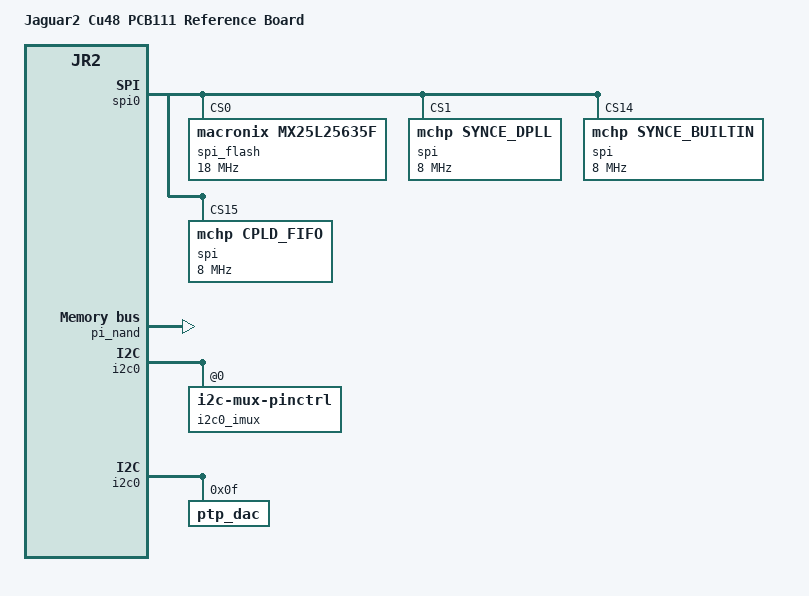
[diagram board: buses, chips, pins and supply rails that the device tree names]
// SPDX-License-Identifier: (GPL-2.0+ OR MIT)
/*
 * Copyright (c) 2018 Microsemi Corporation
 */

/dts-v1/;
#include "jaguar2_common.dtsi"

/ {
	model = "Jaguar2 Cu48 PCB111 Reference Board";
	compatible = "mscc,jr2-pcb111", "mscc,jr2";

	aliases {
		i2c0    = &i2c0;
		i2c149  = &i2c149;
		i2c150  = &i2c150;
		i2c151  = &i2c151;
		i2c152  = &i2c152;
		i2c203  = &i2c203;
		ptp_dac = &ptp_dac;
	};
};

&spi0 {
	status = "okay";
	spi-flash@0 {
		label = "spi_flash";
		compatible = "macronix,mx25l25635f", "jedec,spi-nor";
		spi-max-frequency = <18000000>; /* input clock */
		reg = <0>; /* CS0 */
	};
	// synce module
	spi@1 {
		compatible = "mchp,synce_dpll";
		reg = <0x1>; /* CS1 */
		pinctrl-0 = <&synce_pins>;
		pinctrl-names = "default";
		spi-max-frequency = <8000000>;
	};
	// CPLD register interface
	spi@e {
		compatible = "mchp,synce_builtin";
		reg = <0xe>; /* CS14 */
		pinctrl-0 = <&cpld_pins>;
		pinctrl-names = "default";
		spi-max-frequency = <8000000>;
	};
	// CPLD FIFO interface
	spi@f {
		compatible = "mchp,cpld_fifo";
		reg = <0xf>; /* CS15 */
		pinctrl-0 = <&cpld_fifo_pins>;
		pinctrl-names = "default";
		spi-max-frequency = <8000000>;
	};
};

&pi_nand {
	status = "okay";
	chip-delay = <100>; // MX30LF1GE8AB with internal ECC has 45-70 us tR_ECC
	waitcc = <8>;       // Slow down NAND CS via waitcc - appx 77ns
	partitions {
		compatible = "fixed-partitions";
		#address-cells = <1>;
		#size-cells = <1>;
		/* 256MiB */
		partition@0 {
			    label = "rootfs_nand_data";
			    reg = <0x0000000 0x10000000>;
		};
	};
};

&gpio {
	synce_pins: synce-pins {
		// GPIO 16 == SI_nCS1
		pins = "GPIO_16";
		function = "si";
	};
	synce_builtin_pins: synce-builtin-pins {
		// GPIO 49 == SI_nCS13
		pins = "GPIO_49";
		function = "si";
	};
	cpld_pins: cpld-pins {
		// GPIO 50 == SI_nCS14
		pins = "GPIO_50";
		function = "si";
	};
	cpld_fifo_pins: synce-builtin-pins {
		// GPIO 51 == SI_nCS15
		pins = "GPIO_51";
		function = "si";
	};
};

&gpio {
	i2cmux_pins_i: i2cmux-pins {
		pins = "GPIO_17", "GPIO_18";
		function = "twi_scl_m";
		output-low;
	};
	i2cmux_0: i2cmux-0-pins {
		pins = "GPIO_17";
		function = "twi_scl_m";
		output-high;
	};
	i2cmux_1: i2cmux-1-pins {
		pins = "GPIO_18";
		function = "twi_scl_m";
		output-high;
	};
	i2cmux_2: i2cmux-2-pins {
		pins = "GPIO_20";
		function = "twi_scl_m";
		output-high;
	};
	i2cmux_3: i2cmux-3-pins {
		pins = "GPIO_21";
		function = "twi_scl_m";
		output-high;
	};
};

&ahb {
	i2c0_imux: i2c0-imux@0 {
		compatible = "i2c-mux-pinctrl";
		#address-cells = <1>;
		#size-cells = <0>;
		i2c-parent = <&i2c0>;
		pinctrl-names =
			"i2c149", "i2c150", "i2c151", "i2c152", "i2c203", "idle";
		pinctrl-0 = <&i2cmux_0>;
		pinctrl-1 = <&i2cmux_1>;
		pinctrl-2 = <&i2cmux_2>;
		pinctrl-3 = <&i2cmux_3>;
		pinctrl-4 = <&i2cmux_pins_i>; // Added by convention for PoE
		pinctrl-5 = <&i2cmux_pins_i>;
		i2c149: i2c_sfp_plus_a {
			reg = <0x0>;
			#address-cells = <1>;
			#size-cells = <0>;
		};
		i2c150: i2c_sfp_plus_b {
			reg = <0x1>;
			#address-cells = <1>;
			#size-cells = <0>;
		};
		i2c151: i2c_sfp_plus_c {
			reg = <0x2>;
			#address-cells = <1>;
			#size-cells = <0>;
		};
		i2c152: i2c_sfp_plus_d {
			reg = <0x3>;
			#address-cells = <1>;
			#size-cells = <0>;
		};
		i2c203: i2c_pd69xxx {
			reg = <0x4>;
			#address-cells = <1>;
			#size-cells = <0>;
		};
	};
};

&i2c0 {
	// PTP DAC device on address 0xF on the main I2C segment
	ptp_dac: i2c_ptp_dac@f {
		// This provides the device name
		compatible = "ptp_dac";
		reg = <0xf>;
		#address-cells = <1>;
		#size-cells = <0>;
	};
};
